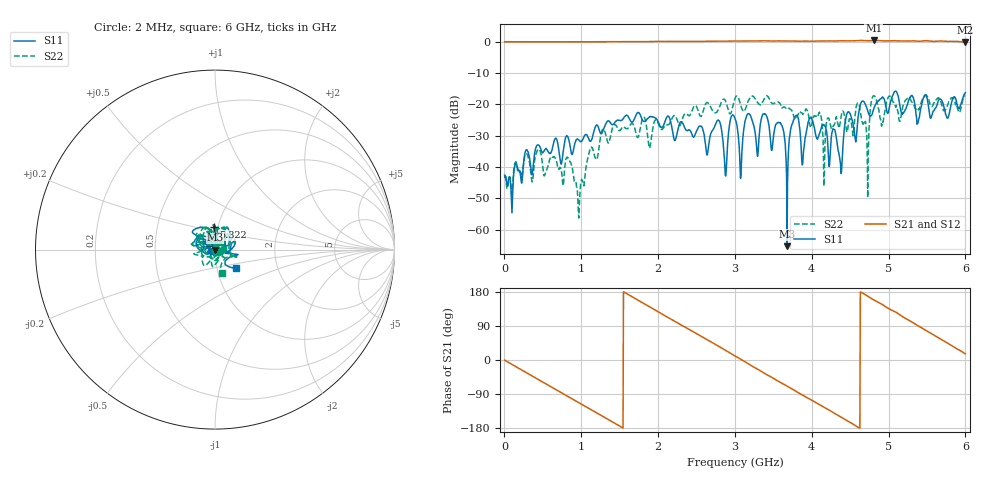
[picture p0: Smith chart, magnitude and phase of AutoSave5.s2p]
!Agilent N9923A: A.05.17
!Date: Sunday, 01 January 2006 13:03:05
!Model: N9923A
!Serial: MY50371189
!CHECKSUM:1657285070
!Correction: S11(OFF)S21(ON U)S12(OFF)S22(OFF)
!S2P File: Measurements:S11,S21,S12,S22:
# Hz S DB R 50
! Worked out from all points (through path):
!   1001 points, 2 MHz to 6 GHz, reference 50 ohm
!   highest |S21| = 0.36 dB at 4.806 GHz (marker M1); lowest = -0.1 dB at 5.994 GHz (marker M2)
!   group delay of S21, straight-line fit = 325 ps
!   lowest |S11| = -65.3 dB at 3.679 GHz (marker M3), VSWR 1.00, Z = 49.9 - j0.00865 ohm
!   |S11| at or under -10 dB: start of sweep to end of sweep
!   |S22| runs from -56.3 to -17.1 dB; largest |S21 - S12| = 0.018
!   S11 on the Smith chart (normalised r, x): 2 MHz: 1.01, -0.00; 5.322 GHz: 0.95, +0.25; 6 GHz: 1.23, -0.25
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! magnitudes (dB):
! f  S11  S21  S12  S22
! 2 MHz  -42.7  -0.1  0.0  -42.8
! 445.9 MHz  -33.1  -0.1  0.0  -34.3
! 1.004 GHz  -31.9  -0.1  0.0  -44.0
! 1.28 GHz  -28.6  0.0  0.0  -28.0
! 2.005 GHz  -25.9  0.0  0.1  -26.4
! 2.785 GHz  -25.1  0.2  0.2  -21.7
! 2.875 GHz  -42.8  0.1  0.2  -18.8
! 3.001 GHz  -24.5  0.2  0.2  -18.1
! 3.073 GHz  -43.6  0.2  0.2  -20.1
! 3.169 GHz  -23.1  0.2  0.3  -19.2
! 3.583 GHz  -25.9  0.2  0.2  -19.6
! 3.679 GHz  -65.3  0.2  0.2  -21.2
! 3.775 GHz  -24.5  0.1  0.2  -24.3
! 4.003 GHz  -24.9  0.1  0.2  -26.1
! 4.375 GHz  -39.1  0.3  0.3  -25.3
! 4.465 GHz  -22.6  0.2  0.3  -28.9
! 4.722 GHz  -21.7  0.3  0.2  -36.4
! 4.806 GHz  -21.5  0.4  0.3  -17.3
! 5.004 GHz  -21.7  0.2  0.2  -17.4
! 5.322 GHz  -17.9  0.2  0.3  -20.2
! 5.994 GHz  -16.5  -0.1  0.0  -17.4
! 6 GHz  -16.3  -0.1  0.0  -17.4
